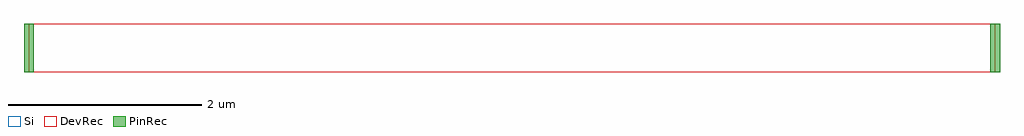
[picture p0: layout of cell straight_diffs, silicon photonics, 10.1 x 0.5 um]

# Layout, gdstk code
import gdstk
lib = gdstk.Library(unit=1e-6, precision=1e-09)
def R(c, l, rs):  # rectangles x0, y0, x1, y1
    for r in rs: c.add(gdstk.rectangle(r[:2], r[2:], *l))
Si = (1, 0)
PinRec = (1, 10)
DevRec = (68, 0)

straight_old = lib.new_cell('straight_old')
R(straight_old, Si, [(0,-0.25,10,0.25)])
straight_old.add(gdstk.FlexPath([(0.05,0),(-0.05,0)], 0.5, ends="flush", simple_path=True, layer=1, datatype=10))  # PinRec
straight_old.add(gdstk.FlexPath([(9.95,0),(10.05,0)], 0.5, ends="flush", simple_path=True, layer=1, datatype=10))  # PinRec
straight_old.add(gdstk.Label('o1', (0,0), layer=1, texttype=10))
straight_old.add(gdstk.Label('o2', (10,0), layer=1, texttype=10))

straight_new = lib.new_cell('straight_new')
R(straight_new, Si, [(0,-0.25,10,0.25)])
R(straight_new, DevRec, [(0,-0.25,10,0.25)])
straight_new.add(gdstk.FlexPath([(0.05,0),(-0.05,0)], 0.5, ends="flush", simple_path=True, layer=1, datatype=10))  # PinRec
straight_new.add(gdstk.FlexPath([(9.95,0),(10.05,0)], 0.5, ends="flush", simple_path=True, layer=1, datatype=10))  # PinRec
straight_new.add(gdstk.Label('o1', (0,0), layer=1, texttype=10))
straight_new.add(gdstk.Label('o2', (10,0), layer=1, texttype=10))

straight_diffs = lib.new_cell('straight_diffs')
straight_diffs.add(gdstk.Reference(straight_old, (0,0)))
straight_diffs.add(gdstk.Reference(straight_new, (0,0)))

lib.write_gds('straight_diffs.gds')
